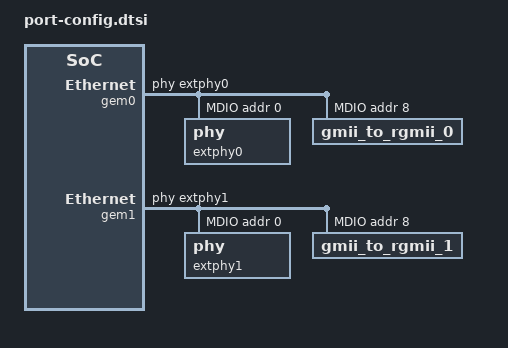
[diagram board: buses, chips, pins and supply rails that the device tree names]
/include/ "system-conf.dtsi"
/ {
};

    &gem0 {
        local-mac-address = [00 0a 35 00 01 22];
        phy-handle = <&extphy0>;
        status = "okay";
        xlnx,has-mdio = <0x1>;
        psu_ethernet_0_mdio: mdio {
                #address-cells = <1>;
                #size-cells = <0>;
                extphy0: phy@0 {
                        device_type = "ethernet-phy";
                        reg = <0>;
                };
                gmii_to_rgmii_0: gmii_to_rgmii_0@8 {
                        phy-handle = <&extphy0>;
                        reg = <8>;
                };
        };
    };  
      
    &gem1 {
        local-mac-address = [00 0a 35 00 01 23];
        phy-handle = <&extphy1>;
        status = "okay";
        xlnx,has-mdio = <0x1>;
        psu_ethernet_1_mdio: mdio {
                #address-cells = <1>;
                #size-cells = <0>;
                extphy1: phy@0 {
                        device_type = "ethernet-phy";
                        reg = <0>;
                };
                gmii_to_rgmii_1: gmii_to_rgmii_1@8 {
                        phy-handle = <&extphy1>;
                        reg = <8>;
                };
        };
    };  
      
